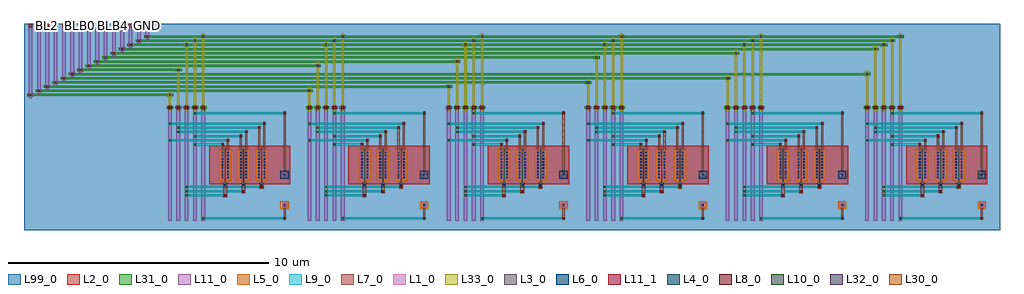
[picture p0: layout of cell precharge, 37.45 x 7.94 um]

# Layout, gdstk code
import gdstk
lib = gdstk.Library(unit=1e-6, precision=5e-10)
def R(c, l, rs):  # rectangles x0, y0, x1, y1
    for r in rs: c.add(gdstk.rectangle(r[:2], r[2:], *l))
def A(c, l, x, y, w, h, nx, ny, dx, dy):  # array of equal rectangles
    R(c, l, [(x+i*dx, y+j*dy, x+i*dx+w, y+j*dy+h) for i in range(nx) for j in range(ny)])
L1_0 = (1, 0)
L2_0 = (2, 0)
L3_0 = (3, 0)
L4_0 = (4, 0)
L5_0 = (5, 0)
L6_0 = (6, 0)
L7_0 = (7, 0)
L8_0 = (8, 0)
L9_0 = (9, 0)
L10_0 = (10, 0)
L11_0 = (11, 0)
L11_1 = (11, 1)
L30_0 = (30, 0)
L31_0 = (31, 0)
L32_0 = (32, 0)
L33_0 = (33, 0)
L99_0 = (99, 0)

pmos1v_cdns_794040339630 = lib.new_cell('pmos1v_CDNS_794040339630')
R(pmos1v_cdns_794040339630, L1_0, [(-0.14,0,0,1.08), (0,0,0.045,1.08), (0.045,0,0.185,1.08)])
R(pmos1v_cdns_794040339630, L2_0, [(-0.2,-0.06,0.245,1.14)])
R(pmos1v_cdns_794040339630, L3_0, [(0,-0.1,0.045,-0.05), (0,-0.05,0.045,0), (0,0,0.045,1.08), (0,1.08,0.045,1.13), (0,1.13,0.045,1.18)])
R(pmos1v_cdns_794040339630, L5_0, [(-0.1,-0.1,0.145,1.18), (-0.21,-0.07,0.255,1.15)])
A(pmos1v_cdns_794040339630, L6_0, -0.11, 0.03, 0.06, 0.06, 1, 9, 0, 0.12)
A(pmos1v_cdns_794040339630, L6_0, 0.095, 0.03, 0.06, 0.06, 1, 9, 0, 0.12)
R(pmos1v_cdns_794040339630, L7_0, [(-0.11,0,-0.05,1.08), (0.095,0,0.155,1.08)])

precharge_unit = lib.new_cell('precharge_unit')
R(precharge_unit, L1_0, [(4.55,0.52,4.75,0.72), (4.55,1.69,4.75,1.89)])
R(precharge_unit, L2_0, [(1.75,1.42,4.87,2.9)])
A(precharge_unit, L3_0, 2.3, 1.29, 0.14, 0.2, 3, 1, 0.7, 0)
A(precharge_unit, L3_0, 2.35, 1.29, 0.045, 0.28, 3, 1, 0.7, 0)
R(precharge_unit, L4_0, [(4.49,1.63,4.81,1.95)])
R(precharge_unit, L5_0, [(4.49,0.46,4.81,0.78)])
A(precharge_unit, L6_0, 2.34, 1.36, 0.06, 0.06, 3, 1, 0.7, 0)
R(precharge_unit, L6_0, [(4.62,0.59,4.68,0.65), (4.62,1.76,4.68,1.82)])
A(precharge_unit, L7_0, 2.3, 1.315, 0.14, 0.15, 3, 1, 0.7, 0)
R(precharge_unit, L7_0, [(4.61,0.055,4.69,0.185), (4.61,0.08,4.69,0.66), (4.61,0.555,4.69,0.685), (2.3,0.925,2.44,1.075), (2.3,0.93,2.44,1.46), (3,1.085,3.14,1.235), (3,1.09,3.14,1.46), (3.7,1.245,3.84,1.395), (3.7,1.25,3.84,1.46), (4.61,1.725,4.69,1.855), (4.61,1.75,4.69,4.19), (2.23,2.12,2.31,2.99), (2.435,2.12,2.515,3.15), (2.93,2.12,3.01,3.31), (3.135,2.12,3.215,3.47), (3.63,2.12,3.71,3.63), (3.835,2.12,3.915,3.79), (2.23,2.885,2.31,3.015), (2.435,3.045,2.515,3.175), (2.93,3.205,3.01,3.335), (3.135,3.365,3.215,3.495), (3.63,3.525,3.71,3.655), (3.835,3.685,3.915,3.815), (4.61,4.085,4.69,4.215)])
R(precharge_unit, L8_0, [(4.615,0.085,4.685,0.155), (2.335,0.965,2.405,1.035), (3.035,1.125,3.105,1.195), (3.735,1.285,3.805,1.355), (2.235,2.915,2.305,2.985), (2.44,3.075,2.51,3.145), (2.935,3.235,3.005,3.305), (3.14,3.395,3.21,3.465), (3.635,3.555,3.705,3.625), (3.84,3.715,3.91,3.785), (4.615,4.115,4.685,4.185)])
A(precharge_unit, L9_0, 0.825, 0.96, 0.13, 0.08, 1, 3, 0, 0.16)
R(precharge_unit, L9_0, [(1.465,0.08,1.595,0.16), (1.49,0.08,4.69,0.16), (4.585,0.08,4.715,0.16), (0.85,0.96,2.41,1.04), (2.305,0.96,2.435,1.04), (0.85,1.12,3.11,1.2), (3.005,1.12,3.135,1.2), (0.85,1.28,3.81,1.36), (3.705,1.28,3.835,1.36), (1.145,2.91,1.275,2.99), (1.17,2.91,2.31,2.99), (2.205,2.91,2.335,2.99), (0.185,3.07,0.315,3.15), (0.21,3.07,2.515,3.15), (2.41,3.07,2.54,3.15), (1.145,3.23,1.275,3.31), (1.17,3.23,3.01,3.31), (2.905,3.23,3.035,3.31), (0.505,3.39,0.635,3.47), (0.53,3.39,3.215,3.47), (3.11,3.39,3.24,3.47), (0.505,3.55,0.635,3.63), (0.53,3.55,3.71,3.63), (3.605,3.55,3.735,3.63), (0.185,3.71,0.315,3.79), (0.21,3.71,3.915,3.79), (3.81,3.71,3.94,3.79), (1.145,4.11,1.275,4.19), (1.17,4.11,4.69,4.19), (4.585,4.11,4.715,4.19)])
A(precharge_unit, L10_0, 0.855, 0.965, 0.07, 0.07, 1, 3, 0, 0.16)
R(precharge_unit, L10_0, [(1.495,0.085,1.565,0.155), (1.175,2.915,1.245,2.985), (0.215,3.075,0.285,3.145), (1.175,3.235,1.245,3.305), (0.535,3.395,0.605,3.465), (0.535,3.555,0.605,3.625), (0.215,3.715,0.285,3.785), (1.175,4.115,1.245,4.185)])
A(precharge_unit, L11_0, 0.18, 0.03, 0.14, 4.41, 5, 1, 0.32, 0)
A(precharge_unit, L11_0, 0.85, 0.935, 0.08, 0.13, 1, 3, 0, 0.16)
R(precharge_unit, L11_0, [(1.49,0.055,1.57,0.185), (1.17,2.885,1.25,3.015), (0.21,3.045,0.29,3.175), (1.17,3.205,1.25,3.335), (0.53,3.365,0.61,3.495), (0.53,3.525,0.61,3.655), (0.21,3.685,0.29,3.815), (1.17,4.085,1.25,4.215)])
A(precharge_unit, L11_1, 0.185, 4.305, 0.13, 0.13, 5, 1, 0.32, 0)
R(precharge_unit, L99_0, [(0,0,4.95,4.45)])
precharge_unit.add(gdstk.Reference(pmos1v_cdns_794040339630, (3.75,1.62)))
precharge_unit.add(gdstk.Reference(pmos1v_cdns_794040339630, (3.05,1.62)))
precharge_unit.add(gdstk.Reference(pmos1v_cdns_794040339630, (2.35,1.62)))
precharge_unit.add(gdstk.Label('GND', (1.53,4.37), layer=11, texttype=3))
precharge_unit.add(gdstk.Label('VDD', (1.21,4.37), layer=11, texttype=3))
precharge_unit.add(gdstk.Label('PCB', (0.89,4.37), layer=11, texttype=3))
precharge_unit.add(gdstk.Label('BLB', (0.57,4.37), layer=11, texttype=3))
precharge_unit.add(gdstk.Label('BL', (0.25,4.37), layer=11, texttype=3))

precharge = lib.new_cell('precharge')
A(precharge, L11_0, 5.555, 4.595, 0.09, 0.25, 5, 1, 0.32, 0)
A(precharge, L11_0, 10.905, 4.595, 0.09, 0.25, 5, 1, 0.32, 0)
A(precharge, L11_0, 16.255, 4.595, 0.09, 0.25, 5, 1, 0.32, 0)
A(precharge, L11_0, 21.605, 4.595, 0.09, 0.25, 5, 1, 0.32, 0)
A(precharge, L11_0, 26.955, 4.595, 0.09, 0.25, 5, 1, 0.32, 0)
A(precharge, L11_0, 32.305, 4.595, 0.09, 0.25, 5, 1, 0.32, 0)
R(precharge, L11_0, [(0.205,5.075,0.295,5.325), (0.18,5.13,0.32,7.93), (0.525,5.235,0.615,5.485), (0.5,5.29,0.64,7.93), (0.845,5.395,0.935,5.645), (0.82,5.45,0.96,7.93), (1.165,5.555,1.255,5.805), (1.14,5.61,1.28,7.93), (1.485,5.715,1.575,5.965), (1.46,5.77,1.6,7.93), (1.805,5.875,1.895,6.125), (1.78,5.93,1.92,7.93), (2.125,6.035,2.215,6.285), (2.1,6.09,2.24,7.93), (2.445,6.195,2.535,6.445), (2.42,6.25,2.56,7.93), (2.765,6.355,2.855,6.605), (2.74,6.41,2.88,7.93), (3.085,6.515,3.175,6.765), (3.06,6.57,3.2,7.93), (3.405,6.675,3.495,6.925), (3.38,6.73,3.52,7.93), (3.725,6.835,3.815,7.085), (3.7,6.89,3.84,7.93), (4.045,6.995,4.135,7.245), (4.02,7.05,4.16,7.93), (4.365,7.155,4.455,7.405), (4.34,7.21,4.48,7.93), (4.685,7.315,4.775,7.565), (4.66,7.37,4.8,7.93)])
A(precharge, L11_1, 0.185, 7.795, 0.13, 0.13, 15, 1, 0.32, 0)
A(precharge, L30_0, 5.565, 4.685, 0.07, 0.07, 5, 1, 0.32, 0)
A(precharge, L30_0, 10.915, 4.685, 0.07, 0.07, 5, 1, 0.32, 0)
A(precharge, L30_0, 16.265, 4.685, 0.07, 0.07, 5, 1, 0.32, 0)
A(precharge, L30_0, 21.615, 4.685, 0.07, 0.07, 5, 1, 0.32, 0)
A(precharge, L30_0, 26.965, 4.685, 0.07, 0.07, 5, 1, 0.32, 0)
A(precharge, L30_0, 32.315, 4.685, 0.07, 0.07, 5, 1, 0.32, 0)
R(precharge, L30_0, [(0.215,5.165,0.285,5.235), (0.535,5.325,0.605,5.395), (0.855,5.485,0.925,5.555), (1.175,5.645,1.245,5.715), (1.495,5.805,1.565,5.875), (1.815,5.965,1.885,6.035), (2.135,6.125,2.205,6.195), (2.455,6.285,2.525,6.355), (2.775,6.445,2.845,6.515), (3.095,6.605,3.165,6.675), (3.415,6.765,3.485,6.835), (3.735,6.925,3.805,6.995), (4.055,7.085,4.125,7.155), (4.375,7.245,4.445,7.315), (4.695,7.405,4.765,7.475)])
A(precharge, L31_0, 6.115, 7.075, 0.25, 0.09, 6, 1, 5.35, 0)
A(precharge, L31_0, 6.435, 7.235, 0.25, 0.09, 6, 1, 5.35, 0)
A(precharge, L31_0, 6.755, 7.395, 0.25, 0.09, 6, 1, 5.35, 0)
R(precharge, L31_0, [(5.475,4.675,5.725,4.765), (5.475,4.675,5.725,4.765), (5.795,4.675,6.045,4.765), (5.795,4.675,6.045,4.765), (6.115,4.675,6.365,4.765), (6.115,4.675,6.365,4.765), (6.435,4.675,6.685,4.765), (6.435,4.675,6.685,4.765), (6.755,4.675,7.005,4.765), (6.755,4.675,7.005,4.765), (10.825,4.675,11.075,4.765), (10.825,4.675,11.075,4.765), (11.145,4.675,11.395,4.765), (11.145,4.675,11.395,4.765), (11.465,4.675,11.715,4.765), (11.465,4.675,11.715,4.765), (11.785,4.675,12.035,4.765), (11.785,4.675,12.035,4.765), (12.105,4.675,12.355,4.765), (12.105,4.675,12.355,4.765), (16.175,4.675,16.425,4.765), (16.175,4.675,16.425,4.765), (16.495,4.675,16.745,4.765), (16.495,4.675,16.745,4.765), (16.815,4.675,17.065,4.765), (16.815,4.675,17.065,4.765), (17.135,4.675,17.385,4.765), (17.135,4.675,17.385,4.765), (17.455,4.675,17.705,4.765), (17.455,4.675,17.705,4.765), (21.525,4.675,21.775,4.765), (21.525,4.675,21.775,4.765), (21.845,4.675,22.095,4.765), (21.845,4.675,22.095,4.765), (22.165,4.675,22.415,4.765), (22.165,4.675,22.415,4.765), (22.485,4.675,22.735,4.765), (22.485,4.675,22.735,4.765), (22.805,4.675,23.055,4.765), (22.805,4.675,23.055,4.765), (26.875,4.675,27.125,4.765), (26.875,4.675,27.125,4.765), (27.195,4.675,27.445,4.765), (27.195,4.675,27.445,4.765), (27.515,4.675,27.765,4.765), (27.515,4.675,27.765,4.765), (27.835,4.675,28.085,4.765), (27.835,4.675,28.085,4.765), (28.155,4.675,28.405,4.765), (28.155,4.675,28.405,4.765), (32.225,4.675,32.475,4.765), (32.225,4.675,32.475,4.765), (32.545,4.675,32.795,4.765), (32.545,4.675,32.795,4.765), (32.865,4.675,33.115,4.765), (32.865,4.675,33.115,4.765), (33.185,4.675,33.435,4.765), (33.185,4.675,33.435,4.765), (33.505,4.675,33.755,4.765), (33.505,4.675,33.755,4.765), (0.125,5.155,0.375,5.245), (5.475,5.155,5.725,5.245), (0.21,5.16,5.64,5.24), (0.445,5.315,0.695,5.405), (10.825,5.315,11.075,5.405), (0.53,5.32,10.99,5.4), (0.765,5.475,1.015,5.565), (16.175,5.475,16.425,5.565), (0.85,5.48,16.34,5.56), (1.085,5.635,1.335,5.725), (21.525,5.635,21.775,5.725), (1.17,5.64,21.69,5.72), (1.405,5.795,1.655,5.885), (26.875,5.795,27.125,5.885), (1.49,5.8,27.04,5.88), (1.725,5.955,1.975,6.045), (32.225,5.955,32.475,6.045), (1.81,5.96,32.39,6.04), (2.045,6.115,2.295,6.205), (5.795,6.115,6.045,6.205), (2.13,6.12,5.96,6.2), (2.365,6.275,2.615,6.365), (11.145,6.275,11.395,6.365), (2.45,6.28,11.31,6.36), (2.685,6.435,2.935,6.525), (16.495,6.435,16.745,6.525), (2.77,6.44,16.66,6.52), (3.005,6.595,3.255,6.685), (21.845,6.595,22.095,6.685), (3.09,6.6,22.01,6.68), (3.325,6.755,3.575,6.845), (27.195,6.755,27.445,6.845), (3.41,6.76,27.36,6.84), (3.645,6.915,3.895,7.005), (32.545,6.915,32.795,7.005), (3.73,6.92,32.71,7), (3.965,7.075,4.215,7.165), (4.05,7.08,33.03,7.16), (4.285,7.235,4.535,7.325), (4.37,7.24,33.35,7.32), (4.605,7.395,4.855,7.485), (4.69,7.4,33.67,7.48)])
A(precharge, L32_0, 5.565, 4.685, 0.07, 0.07, 5, 1, 0.32, 0)
A(precharge, L32_0, 10.915, 4.685, 0.07, 0.07, 5, 1, 0.32, 0)
A(precharge, L32_0, 16.265, 4.685, 0.07, 0.07, 5, 1, 0.32, 0)
A(precharge, L32_0, 21.615, 4.685, 0.07, 0.07, 5, 1, 0.32, 0)
A(precharge, L32_0, 26.965, 4.685, 0.07, 0.07, 5, 1, 0.32, 0)
A(precharge, L32_0, 32.315, 4.685, 0.07, 0.07, 5, 1, 0.32, 0)
A(precharge, L32_0, 6.205, 7.085, 0.07, 0.07, 6, 1, 5.35, 0)
A(precharge, L32_0, 6.525, 7.245, 0.07, 0.07, 6, 1, 5.35, 0)
A(precharge, L32_0, 6.845, 7.405, 0.07, 0.07, 6, 1, 5.35, 0)
R(precharge, L32_0, [(5.565,5.165,5.635,5.235), (10.915,5.325,10.985,5.395), (16.265,5.485,16.335,5.555), (21.615,5.645,21.685,5.715), (26.965,5.805,27.035,5.875), (32.315,5.965,32.385,6.035), (5.885,6.125,5.955,6.195), (11.235,6.285,11.305,6.355), (16.585,6.445,16.655,6.515), (21.935,6.605,22.005,6.675), (27.285,6.765,27.355,6.835), (32.635,6.925,32.705,6.995)])
A(precharge, L33_0, 5.555, 4.595, 0.09, 0.25, 5, 1, 0.32, 0)
A(precharge, L33_0, 10.905, 4.595, 0.09, 0.25, 5, 1, 0.32, 0)
A(precharge, L33_0, 16.255, 4.595, 0.09, 0.25, 5, 1, 0.32, 0)
A(precharge, L33_0, 21.605, 4.595, 0.09, 0.25, 5, 1, 0.32, 0)
A(precharge, L33_0, 26.955, 4.595, 0.09, 0.25, 5, 1, 0.32, 0)
A(precharge, L33_0, 32.305, 4.595, 0.09, 0.25, 5, 1, 0.32, 0)
A(precharge, L33_0, 6.2, 4.68, 0.08, 2.48, 6, 1, 5.35, 0)
A(precharge, L33_0, 6.52, 4.68, 0.08, 2.64, 6, 1, 5.35, 0)
A(precharge, L33_0, 6.84, 4.68, 0.08, 2.8, 6, 1, 5.35, 0)
A(precharge, L33_0, 6.195, 6.995, 0.09, 0.25, 6, 1, 5.35, 0)
A(precharge, L33_0, 6.515, 7.155, 0.09, 0.25, 6, 1, 5.35, 0)
A(precharge, L33_0, 6.835, 7.315, 0.09, 0.25, 6, 1, 5.35, 0)
R(precharge, L33_0, [(5.56,4.68,5.64,5.24), (5.88,4.68,5.96,6.2), (10.91,4.68,10.99,5.4), (11.23,4.68,11.31,6.36), (16.26,4.68,16.34,5.56), (16.58,4.68,16.66,6.52), (21.61,4.68,21.69,5.72), (21.93,4.68,22.01,6.68), (26.96,4.68,27.04,5.88), (27.28,4.68,27.36,6.84), (32.31,4.68,32.39,6.04), (32.63,4.68,32.71,7), (5.555,5.075,5.645,5.325), (10.905,5.235,10.995,5.485), (16.255,5.395,16.345,5.645), (21.605,5.555,21.695,5.805), (26.955,5.715,27.045,5.965), (32.305,5.875,32.395,6.125), (5.875,6.035,5.965,6.285), (11.225,6.195,11.315,6.445), (16.575,6.355,16.665,6.605), (21.925,6.515,22.015,6.765), (27.275,6.675,27.365,6.925), (32.625,6.835,32.715,7.085)])
R(precharge, L99_0, [(0,0,37.45,7.94)])
precharge.add(gdstk.Reference(precharge_unit, (32.1,0.35)))
precharge.add(gdstk.Reference(precharge_unit, (26.75,0.35)))
precharge.add(gdstk.Reference(precharge_unit, (21.4,0.35)))
precharge.add(gdstk.Reference(precharge_unit, (16.05,0.35)))
precharge.add(gdstk.Reference(precharge_unit, (10.7,0.35)))
precharge.add(gdstk.Reference(precharge_unit, (5.35,0.35)))
precharge.add(gdstk.Label('GND', (4.73,7.86), layer=11, texttype=3))
precharge.add(gdstk.Label('VDD', (4.41,7.86), layer=11, texttype=3))
precharge.add(gdstk.Label('PCB', (4.09,7.86), layer=11, texttype=3))
precharge.add(gdstk.Label('BLB5', (3.77,7.86), layer=11, texttype=3))
precharge.add(gdstk.Label('BLB4', (3.45,7.86), layer=11, texttype=3))
precharge.add(gdstk.Label('BLB3', (3.13,7.86), layer=11, texttype=3))
precharge.add(gdstk.Label('BLB2', (2.81,7.86), layer=11, texttype=3))
precharge.add(gdstk.Label('BLB1', (2.49,7.86), layer=11, texttype=3))
precharge.add(gdstk.Label('BLB0', (2.17,7.86), layer=11, texttype=3))
precharge.add(gdstk.Label('BL5', (1.85,7.86), layer=11, texttype=3))
precharge.add(gdstk.Label('BL4', (1.53,7.86), layer=11, texttype=3))
precharge.add(gdstk.Label('BL3', (1.21,7.86), layer=11, texttype=3))
precharge.add(gdstk.Label('BL2', (0.89,7.86), layer=11, texttype=3))
precharge.add(gdstk.Label('BL1', (0.57,7.86), layer=11, texttype=3))
precharge.add(gdstk.Label('BL0', (0.25,7.86), layer=11, texttype=3))

lib.write_gds('precharge.gds')
